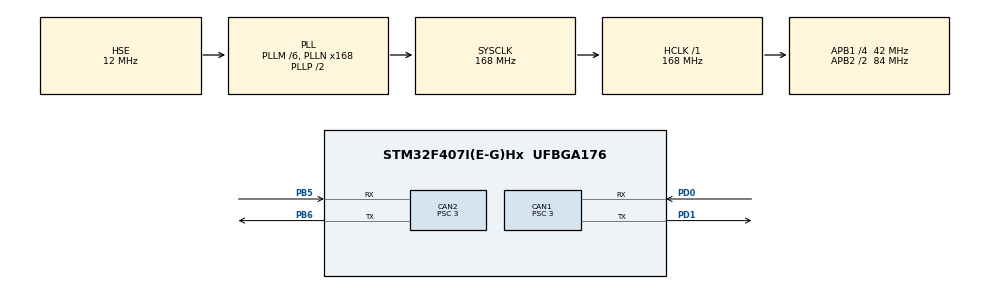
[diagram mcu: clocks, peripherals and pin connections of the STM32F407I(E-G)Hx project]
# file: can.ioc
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CAN1.BS1=CAN_BS1_11TQ
CAN1.BS2=CAN_BS2_2TQ
CAN1.CalculateBaudRate=1000000
CAN1.CalculateTimeBit=1000
CAN1.CalculateTimeQuantum=71.42857142857143
CAN1.Mode=CAN_MODE_NORMAL
CAN1.Prescaler=3
CAN1.SJW=CAN_SJW_1TQ
CAN2.BS1=CAN_BS1_11TQ
CAN2.BS2=CAN_BS2_2TQ
CAN2.CalculateBaudRate=1000000
CAN2.CalculateTimeBit=1000
CAN2.CalculateTimeQuantum=71.42857142857143
CAN2.Prescaler=3
Mcu.Family=STM32F4
Mcu.Name=STM32F407I(E-G)Hx
Mcu.Package=UFBGA176
NVIC.CAN1_RX0_IRQn=true\:0\:0\:false\:false\:true\:true\:true\:true
NVIC.CAN2_RX0_IRQn=true\:0\:0\:false\:false\:true\:true\:true\:true
NVIC.PriorityGroup=NVIC_PRIORITYGROUP_4
PA13.Mode=Serial_Wire
PA13.Signal=SYS_JTMS-SWDIO
PA14.Mode=Serial_Wire
PA14.Signal=SYS_JTCK-SWCLK
PB5.Mode=CAN_Activate
PB5.Signal=CAN2_RX
PB6.Mode=CAN_Activate
PB6.Signal=CAN2_TX
PD0.Mode=CAN_Activate
PD0.Signal=CAN1_RX
PD1.Mode=CAN_Activate
PD1.Signal=CAN1_TX
PH0-OSC_IN.Mode=HSE-External-Oscillator
PH0-OSC_IN.Signal=RCC_OSC_IN
PH1-OSC_OUT.Mode=HSE-External-Oscillator
PH1-OSC_OUT.Signal=RCC_OSC_OUT
ProjectManager.HeapSize=0x200
ProjectManager.StackSize=0x400
ProjectManager.TargetToolchain=MDK-ARM V5.32
RCC.48MHZClocksFreq_Value=84000000
RCC.AHBFreq_Value=168000000
RCC.APB1CLKDivider=RCC_HCLK_DIV4
RCC.APB1Freq_Value=42000000
RCC.APB1TimFreq_Value=84000000
RCC.APB2CLKDivider=RCC_HCLK_DIV2
RCC.APB2Freq_Value=84000000
RCC.APB2TimFreq_Value=168000000
RCC.CortexFreq_Value=168000000
RCC.HCLKFreq_Value=168000000
RCC.HSE_VALUE=12000000
RCC.HSI_VALUE=16000000
RCC.LSE_VALUE=32768
RCC.PLLM=6
RCC.PLLN=168
RCC.PLLSourceVirtual=RCC_PLLSOURCE_HSE
RCC.SYSCLKFreq_VALUE=168000000
RCC.SYSCLKSource=RCC_SYSCLKSOURCE_PLLCLK
RCC.VCOOutputFreq_Value=336000000
board=custom

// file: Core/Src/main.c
/* USER CODE BEGIN Header */
/**
  ******************************************************************************
  * @file           : main.c
  * @brief          : 作业四 · C 板双 CAN 接口数据收发
  *                   许竣皓 202605311924
  ******************************************************************************
  */
/* USER CODE END Header */
#include "main.h"
#include "can.h"
#include "gpio.h"

/* USER CODE BEGIN PV */

static const uint8_t k_fixed_data[8] =
{
  0x01, 0x00, 0x01, 0x00, 0x01, 0x00, 0x01, 0x00
};

static uint32_t last_tx_ms = 0;

static volatile uint32_t g_tx_count = 0U;
static volatile uint32_t g_echo_count = 0U;

/* USER CODE END PV */

void SystemClock_Config(void);
/* USER CODE BEGIN PFP */
static uint8_t Can_Filter_Init(CAN_HandleTypeDef *hcan, uint32_t bank, uint32_t id, uint32_t mask);
static uint8_t Can_Start(CAN_HandleTypeDef *hcan);
static uint8_t Can_Send(CAN_HandleTypeDef *hcan, uint32_t id, const uint8_t *data, uint32_t dlc);
/* USER CODE END PFP */

/* USER CODE BEGIN 0 */

static uint8_t Can_Filter_Init(CAN_HandleTypeDef *hcan, uint32_t bank, uint32_t id, uint32_t mask)
{
  CAN_FilterTypeDef f;

  f.FilterBank           = bank;
  f.FilterMode           = CAN_FILTERMODE_IDMASK;
  f.FilterScale          = CAN_FILTERSCALE_32BIT;
  f.FilterIdHigh         = ((id & 0x7FFU) << 5);
  f.FilterIdLow          = 0U;
  f.FilterMaskIdHigh     = ((mask & 0x7FFU) << 5);
  f.FilterMaskIdLow      = 0U;
  f.FilterFIFOAssignment = CAN_FILTER_FIFO0;
  f.FilterActivation     = ENABLE;
  f.SlaveStartFilterBank = 14;

  return (HAL_CAN_ConfigFilter(hcan, &f) == HAL_OK) ? 1U : 0U;
}

static uint8_t Can_Start(CAN_HandleTypeDef *hcan)
{
  if (HAL_CAN_Start(hcan) != HAL_OK)
  {
    return 0U;
  }
  if (HAL_CAN_ActivateNotification(hcan, CAN_IT_RX_FIFO0_MSG_PENDING) != HAL_OK)
  {
    return 0U;
  }
  return 1U;
}

static uint8_t Can_Send(CAN_HandleTypeDef *hcan, uint32_t id, const uint8_t *data, uint32_t dlc)
{
  CAN_TxHeaderTypeDef tx;
  uint32_t mailbox;
  HAL_StatusTypeDef st;

  if ((hcan == NULL) || (data == NULL) || (dlc > 8U))
  {
    return 0U;
  }
  if (HAL_CAN_GetTxMailboxesFreeLevel(hcan) == 0U)
  {
    return 0U;
  }

  tx.StdId              = id;
  tx.ExtId              = 0U;
  tx.IDE                = CAN_ID_STD;
  tx.RTR                = CAN_RTR_DATA;
  tx.DLC                = dlc;
  tx.TransmitGlobalTime = DISABLE;

  st = HAL_CAN_AddTxMessage(hcan, &tx, (uint8_t *)data, &mailbox);

  if (st == HAL_OK)
  {
    return 1U;
  }
  return 0U;
}

/* USER CODE END 0 */

int main(void)
{

  /* MCU Configuration--------------------------------------------------------*/

  /* Reset of all peripherals, Initializes the Flash interface and the Systick. */
  HAL_Init();

  /* Configure the system clock */
  SystemClock_Config();

  /* Initialize all configured peripherals */
  MX_GPIO_Init();
  MX_CAN1_Init();
  MX_CAN2_Init();
  /* USER CODE BEGIN 2 */

  if (!Can_Filter_Init(&hcan1, 0U, 0x100U, 0x000U))
  {
    Error_Handler();
  }
  if (!Can_Filter_Init(&hcan2, 14U, 0x200U, 0x7FFU))
  {
    Error_Handler();
  }

  if (!Can_Start(&hcan1))
  {
    Error_Handler();
  }
  if (!Can_Start(&hcan2))
  {
    Error_Handler();
  }

  last_tx_ms = HAL_GetTick();

  /* USER CODE END 2 */

  /* Infinite loop */
  /* USER CODE BEGIN WHILE */
  while (1)
  {
    uint32_t now;

    now = HAL_GetTick();
    if ((now - last_tx_ms) >= 1000U)
    {
      last_tx_ms = now;
      if (Can_Send(&hcan1, 0x100U, k_fixed_data, 8U))
      {
        g_tx_count++;
      }
    }

  /* USER CODE END WHILE */

  }
  /* USER CODE END 4 */
}

void SystemClock_Config(void)
{
  RCC_OscInitTypeDef RCC_OscInitStruct = {0};
  RCC_ClkInitTypeDef RCC_ClkInitStruct = {0};

  /** Configure the main internal regulator output voltage
  */
  __HAL_RCC_PWR_CLK_ENABLE();
  __HAL_PWR_VOLTAGESCALING_CONFIG(PWR_REGULATOR_VOLTAGE_SCALE1);

  /** Initializes the RCC Oscillators according to the specified parameters
  * in the RCC_OscInitTypeDef structure.
  */
  RCC_OscInitStruct.OscillatorType = RCC_OSCILLATORTYPE_HSE;
  RCC_OscInitStruct.HSEState = RCC_HSE_ON;
  RCC_OscInitStruct.PLL.PLLState = RCC_PLL_ON;
  RCC_OscInitStruct.PLL.PLLSource = RCC_PLLSOURCE_HSE;
  RCC_OscInitStruct.PLL.PLLM = 6;
  RCC_OscInitStruct.PLL.PLLN = 168;
  RCC_OscInitStruct.PLL.PLLP = RCC_PLLP_DIV2;
  RCC_OscInitStruct.PLL.PLLQ = 4;
  if (HAL_RCC_OscConfig(&RCC_OscInitStruct) != HAL_OK)
  {
    Error_Handler();
  }

  /** Initializes the CPU, AHB and APB buses clocks
  */
  RCC_ClkInitStruct.ClockType = RCC_CLOCKTYPE_HCLK|RCC_CLOCKTYPE_SYSCLK
                              |RCC_CLOCKTYPE_PCLK1|RCC_CLOCKTYPE_PCLK2;
  RCC_ClkInitStruct.SYSCLKSource = RCC_SYSCLKSOURCE_PLLCLK;
  RCC_ClkInitStruct.AHBCLKDivider = RCC_SYSCLK_DIV1;
  RCC_ClkInitStruct.APB1CLKDivider = RCC_HCLK_DIV4;
  RCC_ClkInitStruct.APB2CLKDivider = RCC_HCLK_DIV2;

  if (HAL_RCC_ClockConfig(&RCC_ClkInitStruct, FLASH_LATENCY_5) != HAL_OK)
  {
    Error_Handler();
  }
}

/* USER CODE BEGIN 4 */

void HAL_CAN_RxFifo0MsgPendingCallback(CAN_HandleTypeDef *hcan)
{
  CAN_RxHeaderTypeDef rx;
  uint8_t buf[8];

  if (HAL_CAN_GetRxMessage(hcan, CAN_RX_FIFO0, &rx, buf) != HAL_OK)
  {
    return;
  }

  if (hcan->Instance == CAN2)
  {
    if (rx.StdId == 0x200U)
    {
      if (Can_Send(hcan, 0x201U, buf, rx.DLC))
      {
        g_echo_count++;
      }
    }
  }
}

/* USER CODE END 4 */

void Error_Handler(void)
{
  __disable_irq();
  while (1)
  {
  }
}
